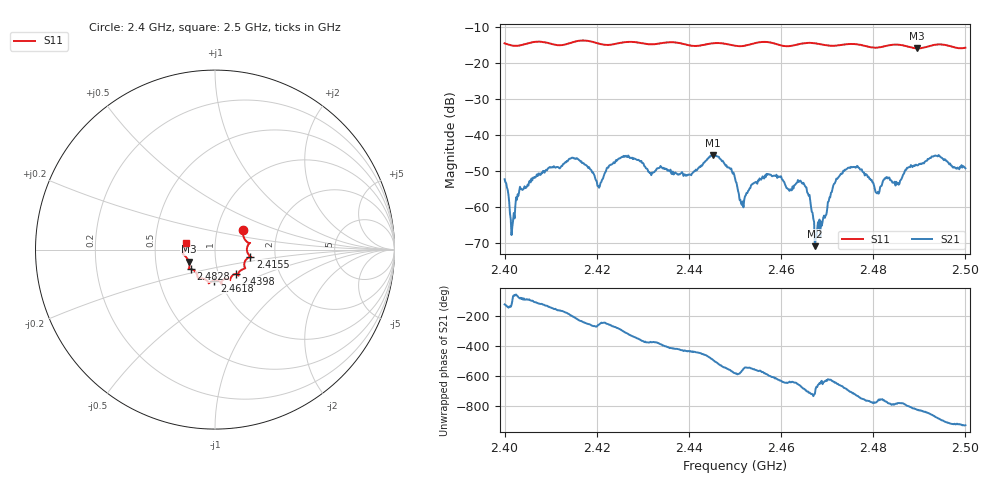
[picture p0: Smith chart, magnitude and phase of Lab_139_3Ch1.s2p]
# Hz S RI R
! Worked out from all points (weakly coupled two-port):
!   601 points, 2.4 GHz to 2.5 GHz, reference 50 ohm
!   highest |S21| = -45.61 dB at 2.4452 GHz (marker M1); lowest = -71.0 dB at 2.4673 GHz (marker M2)
!   lowest |S11| = -15.9 dB at 2.4895 GHz (marker M3), VSWR 1.38, Z = 37 - j5.04 ohm
!   |S11| at or under -10 dB: start of sweep to end of sweep
!   S12 and S22 are empty: the file has one direction only
!   S11 on the Smith chart (normalised r, x): 2.4 GHz: 1.33, +0.29; 2.4155 GHz: 1.49, -0.12; 2.4398 GHz: 1.21, -0.34; 2.4618 GHz: 0.94, -0.33; 2.4828 GHz: 0.74, -0.17; 2.5 GHz: 0.72, +0.06
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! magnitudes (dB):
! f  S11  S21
! 2.4 GHz  -14.5  -52.4
! 2.4017 GHz  -15.1  -65.7
! 2.4037 GHz  -15.0  -55.1
! 2.4155 GHz  -13.9  -46.6
! 2.4167 GHz  -13.7  -47.4
! 2.4205 GHz  -14.6  -54.7
! 2.4258 GHz  -14.2  -45.8
! 2.4333 GHz  -14.6  -49.3
! 2.4398 GHz  -15.0  -51.1
! 2.4452 GHz  -14.5  -45.6
! 2.45 GHz  -15.2  -52.0
! 2.4515 GHz  -15.3  -59.5
! 2.4573 GHz  -14.2  -50.9
! 2.4618 GHz  -15.3  -55.6
! 2.4647 GHz  -14.5  -53.6
! 2.4667 GHz  -14.4  -61.4
! 2.4673 GHz  -14.5  -71.0
! 2.474 GHz  -14.8  -49.7
! 2.4828 GHz  -15.2  -51.8
! 2.4833 GHz  -15.0  -51.9
! 2.4895 GHz  -15.9  -48.5
! 2.5 GHz  -15.7  -49.3
